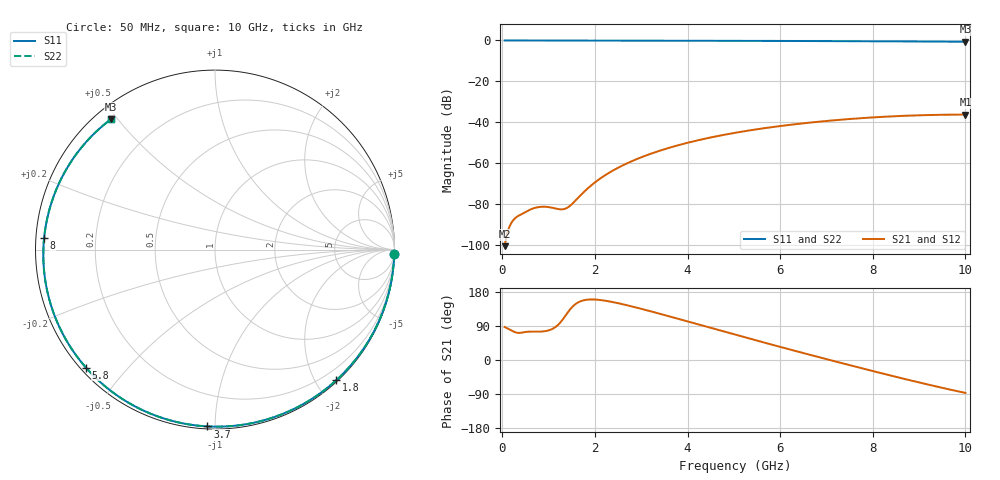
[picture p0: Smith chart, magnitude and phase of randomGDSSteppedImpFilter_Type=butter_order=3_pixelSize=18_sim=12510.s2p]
! freq	dB(S11)	phase(S11)	dB(S12)	phase(S12)
!  dB(S21)	phase(S21)	dB(S22)	phase(S22)
!S-par simulation data
#  GHz  S  DB  R 50
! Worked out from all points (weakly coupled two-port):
!   200 points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, 50 MHz to 10 GHz, reference 50 ohm
!   highest |S21| = -36.31 dB at 10 GHz (marker M1); lowest = -100.8 dB at 50 MHz (marker M2)
!   lowest |S11| = -0.6 dB at 10 GHz (marker M3), VSWR 27.42, Z = 2.25 + j24 ohm
!   |S11| at or under -10 dB: nowhere
!   |S22| runs from -0.6 to 0.0 dB; largest |S21 - S12| = 0
!   S11 on the Smith chart (normalised r, x): 50 MHz: 2, -88; 1.8 GHz: 0.02, -2.29; 3.7 GHz: 0.01, -0.96; 5.8 GHz: 0.01, -0.39; 8 GHz: 0.02, +0.03; 10 GHz: 0.04, +0.48
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0.05  -0.00 -1.3  -100.79 87.1  -100.79 87.1  -0.00 -1.3
0.4  -0.02 -10.7  -85.30 71.8  -85.30 71.8  -0.02 -10.7
0.75  -0.03 -20.0  -81.79 74.8  -81.79 74.8  -0.03 -20.0
1.5  -0.05 -39.5  -80.26 138.7  -80.26 138.7  -0.05 -39.5
1.75  -0.06 -45.8  -74.50 157.3  -74.50 157.3  -0.06 -45.9
1.8  -0.06 -47.1  -73.42 158.6  -73.42 158.6  -0.06 -47.1
2.1  -0.07 -54.6  -67.87 158.5  -67.87 158.5  -0.07 -54.6
2.45  -0.08 -63.2  -62.97 151.3  -62.97 151.3  -0.08 -63.2
2.9  -0.09 -74.0  -58.15 138.2  -58.15 138.2  -0.09 -74.0
3.4  -0.11 -85.6  -54.02 122.1  -54.02 122.1  -0.11 -85.7
3.7  -0.12 -92.5  -51.96 112.0  -51.96 112.0  -0.12 -92.5
4.35  -0.15 -106.9  -48.27 89.9  -48.27 89.9  -0.15 -106.9
5.05  -0.18 -121.9  -45.16 66.2  -45.16 66.2  -0.18 -121.9
5.8  -0.23 -137.6  -42.54 41.2  -42.54 41.2  -0.23 -137.6
6.7  -0.29 -156.2  -40.12 11.9  -40.12 11.9  -0.29 -156.3
7.35  -0.34 -169.9  -38.76 -8.8  -38.76 -8.8  -0.34 -169.9
8  -0.41 176.2  -37.70 -29.1  -37.70 -29.1  -0.41 176.1
8.35  -0.44 168.4  -37.26 -39.9  -37.26 -39.9  -0.44 168.3
8.8  -0.49 158.2  -36.82 -53.4  -36.82 -53.4  -0.49 158.0
9.2  -0.54 148.7  -36.55 -65.0  -36.55 -65.0  -0.54 148.6
9.6  -0.59 138.8  -36.38 -76.2  -36.38 -76.2  -0.59 138.7
10  -0.63 128.6  -36.31 -86.9  -36.31 -86.9  -0.63 128.4
